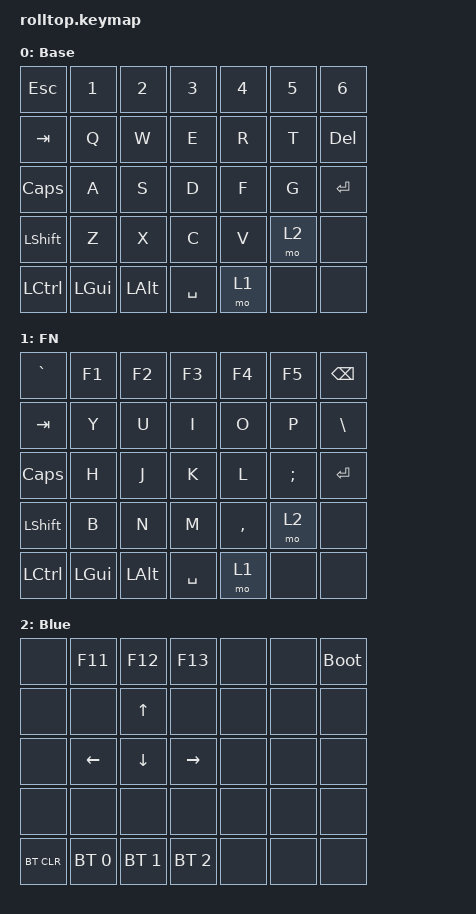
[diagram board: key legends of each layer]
/*
 * Copyright (c) 2023 The ZMK Contributors
 *
 * SPDX-License-Identifier: MIT
 */

#include <behaviors.dtsi>
#include <dt-bindings/zmk/bt.h>
#include <dt-bindings/zmk/keys.h>
#include <dt-bindings/zmk/rgb.h>

/ {
    chosen {
        zmk,matrix-transform = &dual_1u_transform;
    };
};

/ {
    keymap {
        compatible = "zmk,keymap";

        base {
            display-name = "Base";
            bindings = <
&kp ESC     &kp N1      &kp N2      &kp N3      &kp N4      &kp N5       &kp N6
&kp TAB     &kp Q       &kp W       &kp E       &kp R       &kp T        &kp DEL
&kp CAPS    &kp A       &kp S       &kp D       &kp F       &kp G        &kp RET
&kp LSHFT   &kp Z       &kp X       &kp C       &kp V       &mo 2        &none
&kp LCTRL   &kp LGUI     &kp LALT    &kp SPACE   &mo 1        &none        &none
            >;
        };

        lower {
            display-name = "FN";
            bindings = <
&kp GRAVE   &kp F1      &kp F2      &kp F3      &kp F4      &kp F5       &kp BACKSPACE
&kp TAB     &kp Y       &kp U       &kp I       &kp O       &kp P        &kp BACKSLASH
&kp CAPS    &kp H       &kp J       &kp K       &kp L       &kp SEMI     &kp RET
&kp LSHFT   &kp B       &kp N       &kp M       &kp COMMA     &mo 2        &none
&kp LCTRL   &kp LGUI     &kp LALT    &kp SPACE   &mo 1       &none        &none   
            >;
        };

        bluetooth {
            display-name = "Blue";
            bindings = <
&none                &kp F11            &kp F12            &kp F13           &none        &none       &bootloader
&none               &none               &kp UP              &none           &none        &none       &none
&none               &kp LEFT            &kp DOWN            &kp RIGHT       &none        &none       &none
&none               &none               &none               &none           &none        &none       &none
&bt BT_CLR          &bt BT_SEL 0        &bt BT_SEL 1        &bt BT_SEL 2   &none        &none       &none
            >;
        };





        };
};
